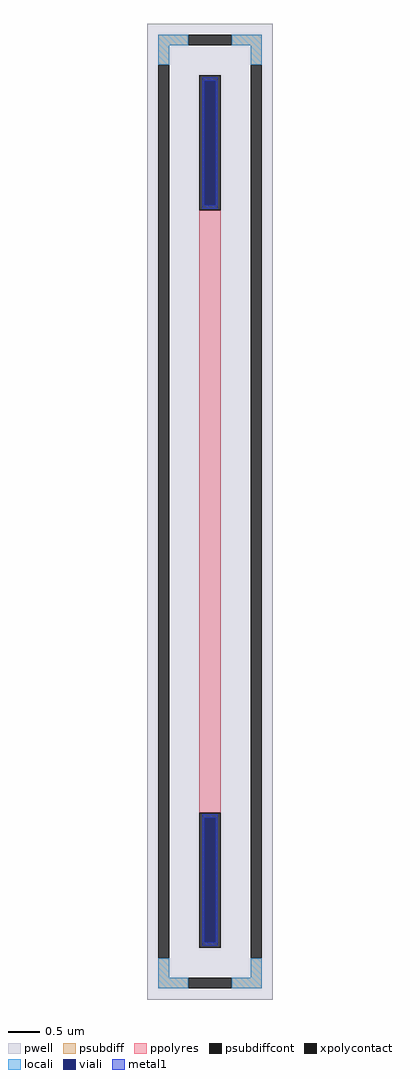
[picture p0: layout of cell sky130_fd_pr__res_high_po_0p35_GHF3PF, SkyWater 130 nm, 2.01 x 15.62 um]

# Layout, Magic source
magic
tech sky130A
magscale 1 2
<< pwell >>
rect -201 -1562 201 1562
<< psubdiff >>
rect -165 1492 -69 1526
rect 69 1492 165 1526
rect -165 1430 -131 1492
rect 131 1430 165 1492
rect -165 -1492 -131 -1430
rect 131 -1492 165 -1430
rect -165 -1526 -69 -1492
rect 69 -1526 165 -1492
<< psubdiffcont >>
rect -69 1492 69 1526
rect -165 -1430 -131 1430
rect 131 -1430 165 1430
rect -69 -1526 69 -1492
<< xpolycontact >>
rect -35 964 35 1396
rect -35 -1396 35 -964
<< ppolyres >>
rect -35 -964 35 964
<< locali >>
rect -165 1492 -69 1526
rect 69 1492 165 1526
rect -165 1430 -131 1492
rect 131 1430 165 1492
rect -165 -1492 -131 -1430
rect 131 -1492 165 -1430
rect -165 -1526 -69 -1492
rect 69 -1526 165 -1492
<< viali >>
rect -19 981 19 1378
rect -19 -1378 19 -981
<< metal1 >>
rect -25 1378 25 1390
rect -25 981 -19 1378
rect 19 981 25 1378
rect -25 969 25 981
rect -25 -981 25 -969
rect -25 -1378 -19 -981
rect 19 -1378 25 -981
rect -25 -1390 25 -1378
<< properties >>
string FIXED_BBOX -148 -1509 148 1509
string gencell sky130_fd_pr__res_high_po_0p35
string library sky130
string parameters w 0.350 l 9.8 m 1 nx 1 wmin 0.350 lmin 0.50 rho 319.8 val 10.067k dummy 0 dw 0.0 term 194.82 sterm 0.0 caplen 0 guard 1 glc 1 grc 1 gtc 1 gbc 1 compatible {sky130_fd_pr__res_high_po_0p35  sky130_fd_pr__res_high_po_0p69 sky130_fd_pr__res_high_po_1p41  sky130_fd_pr__res_high_po_2p85 sky130_fd_pr__res_high_po_5p73} snake 0 full_metal 1 wmax 0.350 vias 1 n_guard 0 hv_guard 0 viagb 0 viagt 0 viagl 0 viagr 0
<< end >>
